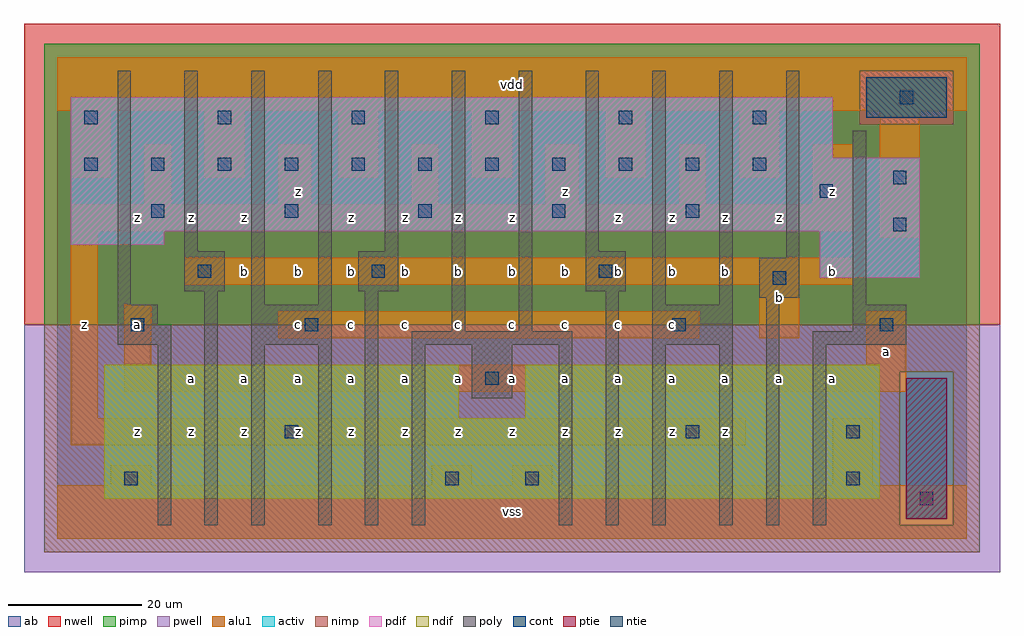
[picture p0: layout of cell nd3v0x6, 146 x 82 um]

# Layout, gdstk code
import gdstk
lib = gdstk.Library(unit=1e-6, precision=1e-09)
def R(c, l, rs):  # rectangles x0, y0, x1, y1
    for r in rs: c.add(gdstk.rectangle(r[:2], r[2:], *l))
def A(c, l, x, y, w, h, nx, ny, dx, dy):  # array of equal rectangles
    R(c, l, [(x+i*dx, y+j*dy, x+i*dx+w, y+j*dy+h) for i in range(nx) for j in range(ny)])
ndif = (3, 0)
pdif = (4, 0)
ntie = (5, 0)
ptie = (6, 0)
cont = (25, 0)
pwell = (41, 0)
nwell = (42, 0)
activ = (43, 0)
pimp = (44, 0)
nimp = (45, 0)
poly = (46, 0)
alu1 = (49, 0)
ab = (63, 0)

nd3v0x6 = lib.new_cell('nd3v0x6')
R(nd3v0x6, ndif, [(7,6,123,18), (7,18,60,26), (70,18,123,26)])
R(nd3v0x6, pdif, [(114,39,129,46), (2,44,16,46), (2,46,129,57), (2,57,116,66)])
R(nd3v0x6, ntie, [(121,63,133,69)])
R(nd3v0x6, ptie, [(127,3,133,24)])
A(nd3v0x6, cont, 14, 48, 2, 2, 5, 1, 20, 0)
A(nd3v0x6, cont, 4, 55, 2, 2, 11, 1, 10, 0)
A(nd3v0x6, cont, 4, 62, 2, 2, 6, 1, 20, 0)
R(nd3v0x6, cont, [(129,5,131,7), (10,8,12,10), (58,8,60,10), (70,8,72,10), (118,8,120,10), (34,15,36,17), (94,15,96,17), (118,15,120,17), (64,23,66,25), (11,31,13,33), (37,31,39,33), (92,31,94,33), (123,31,125,33), (107,38,109,40), (21,39,23,41), (47,39,49,41), (81,39,83,41), (125,46,127,48), (114,51,116,53), (125,53,127,55), (126,65,128,67)])
R(nd3v0x6, pwell, [(-5,-5,141,32)])
R(nd3v0x6, nwell, [(-5,32,141,77)])
R(nd3v0x6, activ, [(127,3,133,24), (7,6,123,18), (7,18,60,26), (70,18,123,26), (114,39,129,46), (2,44,16,46), (2,46,129,57), (2,57,116,66), (121,63,133,69)])
R(nd3v0x6, pimp, [(126,2,134,25), (-2,32,138,62), (-2,62,120,70), (134,62,138,70), (-2,70,138,74)])
R(nd3v0x6, nimp, [(-2,-2,138,2), (-2,2,126,25), (134,2,138,25), (-2,25,138,32), (120,62,134,70)])
A(nd3v0x6, poly, 19, 43, 2, 27, 3, 1, 30, 0)
R(nd3v0x6, poly, [(15,2,17,29), (22,2,24,37), (29,2,31,29), (39,2,41,29), (46,2,48,37), (53,2,55,29), (75,2,77,29), (82,2,84,37), (89,2,91,29), (99,2,101,29), (106,2,108,36), (113,2,115,29), (62,21,68,29), (9,29,17,32), (29,29,41,35), (53,29,77,31), (89,29,101,35), (113,29,127,31), (59,31,61,70), (69,31,71,70), (119,31,127,35), (9,32,15,35), (9,35,11,70), (29,35,31,70), (39,35,41,70), (89,35,91,70), (99,35,101,70), (119,35,121,61), (105,36,111,42), (19,37,25,43), (45,37,51,43), (79,37,85,43), (109,42,111,70)])
A(nd3v0x6, alu1, 13, 50, 4, 9, 3, 1, 40, 0)
A(nd3v0x6, alu1, 2, 54, 6, 10, 6, 1, 20, 0)
R(nd3v0x6, alu1, [(0,0,136,8), (8,8,14,11), (56,8,62,11), (68,8,74,11), (116,8,122,18), (2,14,103,18), (2,18,6,46), (10,22,127,26), (10,26,14,35), (121,26,127,34), (33,30,96,34), (105,30,111,38), (19,38,119,42), (123,45,129,64), (2,46,119,50), (33,50,38,59), (73,50,78,59), (113,50,119,59), (0,64,136,72)])
R(nd3v0x6, ab, [(0,0,136,72)])
nd3v0x6.add(gdstk.Label('z', (12,16), layer=49, texttype=0))
nd3v0x6.add(gdstk.Label('z', (20,16), layer=49, texttype=0))
nd3v0x6.add(gdstk.Label('a', (20,24), layer=49, texttype=0))
nd3v0x6.add(gdstk.Label('a', (12,32), layer=49, texttype=0))
nd3v0x6.add(gdstk.Label('z', (4,32), layer=49, texttype=0))
nd3v0x6.add(gdstk.Label('z', (20,48), layer=49, texttype=0))
nd3v0x6.add(gdstk.Label('z', (12,48), layer=49, texttype=0))
nd3v0x6.add(gdstk.Label('z', (36,16), layer=49, texttype=0))
nd3v0x6.add(gdstk.Label('z', (44,16), layer=49, texttype=0))
nd3v0x6.add(gdstk.Label('z', (28,16), layer=49, texttype=0))
nd3v0x6.add(gdstk.Label('a', (28,24), layer=49, texttype=0))
nd3v0x6.add(gdstk.Label('a', (44,24), layer=49, texttype=0))
nd3v0x6.add(gdstk.Label('a', (36,24), layer=49, texttype=0))
nd3v0x6.add(gdstk.Label('c', (36,32), layer=49, texttype=0))
nd3v0x6.add(gdstk.Label('c', (44,32), layer=49, texttype=0))
nd3v0x6.add(gdstk.Label('b', (28,40), layer=49, texttype=0))
nd3v0x6.add(gdstk.Label('b', (44,40), layer=49, texttype=0))
nd3v0x6.add(gdstk.Label('b', (36,40), layer=49, texttype=0))
nd3v0x6.add(gdstk.Label('z', (28,48), layer=49, texttype=0))
nd3v0x6.add(gdstk.Label('z', (44,48), layer=49, texttype=0))
nd3v0x6.add(gdstk.Label('z', (36,52), layer=49, texttype=0))
nd3v0x6.add(gdstk.Label('vss', (68,4), layer=49, texttype=0))
nd3v0x6.add(gdstk.Label('z', (60,16), layer=49, texttype=0))
nd3v0x6.add(gdstk.Label('z', (68,16), layer=49, texttype=0))
nd3v0x6.add(gdstk.Label('z', (76,16), layer=49, texttype=0))
nd3v0x6.add(gdstk.Label('z', (52,16), layer=49, texttype=0))
nd3v0x6.add(gdstk.Label('a', (52,24), layer=49, texttype=0))
nd3v0x6.add(gdstk.Label('a', (68,24), layer=49, texttype=0))
nd3v0x6.add(gdstk.Label('a', (76,24), layer=49, texttype=0))
nd3v0x6.add(gdstk.Label('a', (60,24), layer=49, texttype=0))
nd3v0x6.add(gdstk.Label('c', (60,32), layer=49, texttype=0))
nd3v0x6.add(gdstk.Label('c', (68,32), layer=49, texttype=0))
nd3v0x6.add(gdstk.Label('c', (76,32), layer=49, texttype=0))
nd3v0x6.add(gdstk.Label('c', (52,32), layer=49, texttype=0))
nd3v0x6.add(gdstk.Label('b', (52,40), layer=49, texttype=0))
nd3v0x6.add(gdstk.Label('b', (68,40), layer=49, texttype=0))
nd3v0x6.add(gdstk.Label('b', (76,40), layer=49, texttype=0))
nd3v0x6.add(gdstk.Label('b', (60,40), layer=49, texttype=0))
nd3v0x6.add(gdstk.Label('z', (52,48), layer=49, texttype=0))
nd3v0x6.add(gdstk.Label('z', (68,48), layer=49, texttype=0))
nd3v0x6.add(gdstk.Label('z', (76,52), layer=49, texttype=0))
nd3v0x6.add(gdstk.Label('z', (60,48), layer=49, texttype=0))
nd3v0x6.add(gdstk.Label('vdd', (68,68), layer=49, texttype=0))
nd3v0x6.add(gdstk.Label('z', (92,16), layer=49, texttype=0))
nd3v0x6.add(gdstk.Label('z', (100,16), layer=49, texttype=0))
nd3v0x6.add(gdstk.Label('z', (84,16), layer=49, texttype=0))
nd3v0x6.add(gdstk.Label('a', (84,24), layer=49, texttype=0))
nd3v0x6.add(gdstk.Label('a', (92,24), layer=49, texttype=0))
nd3v0x6.add(gdstk.Label('a', (108,24), layer=49, texttype=0))
nd3v0x6.add(gdstk.Label('a', (100,24), layer=49, texttype=0))
nd3v0x6.add(gdstk.Label('c', (92,32), layer=49, texttype=0))
nd3v0x6.add(gdstk.Label('c', (84,32), layer=49, texttype=0))
nd3v0x6.add(gdstk.Label('b', (84,40), layer=49, texttype=0))
nd3v0x6.add(gdstk.Label('b', (92,40), layer=49, texttype=0))
nd3v0x6.add(gdstk.Label('b', (108,36), layer=49, texttype=0))
nd3v0x6.add(gdstk.Label('b', (100,40), layer=49, texttype=0))
nd3v0x6.add(gdstk.Label('z', (84,48), layer=49, texttype=0))
nd3v0x6.add(gdstk.Label('z', (92,48), layer=49, texttype=0))
nd3v0x6.add(gdstk.Label('z', (108,48), layer=49, texttype=0))
nd3v0x6.add(gdstk.Label('z', (100,48), layer=49, texttype=0))
nd3v0x6.add(gdstk.Label('a', (116,24), layer=49, texttype=0))
nd3v0x6.add(gdstk.Label('a', (124,28), layer=49, texttype=0))
nd3v0x6.add(gdstk.Label('b', (116,40), layer=49, texttype=0))
nd3v0x6.add(gdstk.Label('z', (116,52), layer=49, texttype=0))

lib.write_gds('nd3v0x6.gds')
